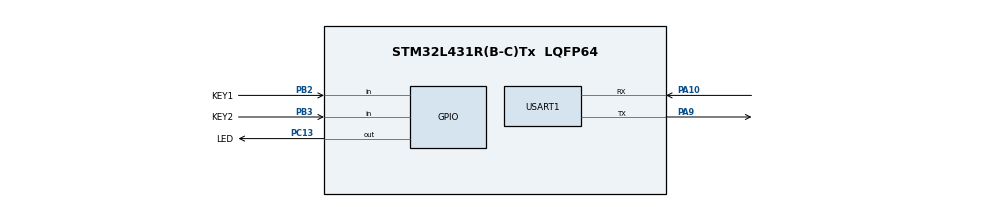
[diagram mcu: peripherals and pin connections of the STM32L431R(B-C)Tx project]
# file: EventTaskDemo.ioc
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FREERTOS.Tasks01=LED_TASK,0,128,LEDTASKEntry,Default,NULL,Dynamic,NULL,NULL;KEY_TASK,-3,128,KEYTASKEntry,Default,NULL,Dynamic,NULL,NULL
Mcu.Family=STM32L4
Mcu.Name=STM32L431R(B-C)Tx
Mcu.Package=LQFP64
NVIC.PriorityGroup=NVIC_PRIORITYGROUP_4
NVIC.TIM1_UP_TIM16_IRQn=true\:0\:0\:false\:false\:true\:false\:false\:true
NVIC.TimeBase=TIM1_UP_TIM16_IRQn
NVIC.TimeBaseIP=TIM1
PA10.Mode=Asynchronous
PA10.Signal=USART1_RX
PA9.Mode=Asynchronous
PA9.Signal=USART1_TX
PB2.GPIO_Label=KEY1
PB2.GPIO_PuPd=GPIO_PULLUP
PB2.Signal=GPIO_Input
PB3\ (JTDO-TRACESWO).GPIO_Label=KEY2
PB3\ (JTDO-TRACESWO).GPIO_PuPd=GPIO_PULLUP
PB3\ (JTDO-TRACESWO).Signal=GPIO_Input
PC13.GPIO_Label=LED
PC13.Signal=GPIO_Output
PC14-OSC32_IN\ (PC14).Mode=LSE-External-Oscillator
PC14-OSC32_IN\ (PC14).Signal=RCC_OSC32_IN
PC15-OSC32_OUT\ (PC15).Mode=LSE-External-Oscillator
PC15-OSC32_OUT\ (PC15).Signal=RCC_OSC32_OUT
PH0-OSC_IN\ (PH0).Mode=HSE-External-Oscillator
PH0-OSC_IN\ (PH0).Signal=RCC_OSC_IN
PH1-OSC_OUT\ (PH1).Mode=HSE-External-Oscillator
PH1-OSC_OUT\ (PH1).Signal=RCC_OSC_OUT
ProjectManager.HeapSize=0x200
ProjectManager.StackSize=0x400
ProjectManager.TargetToolchain=SW4STM32
RCC.HSE_VALUE=8000000
RCC.HSI48_VALUE=48000000
RCC.HSI_VALUE=16000000
RCC.MSI_VALUE=4000000
RCC.VCOOutputFreq_Value=32000000
USART1.VirtualMode-Asynchronous=VM_ASYNC
VP_FREERTOS_VS_CMSIS_V1.Mode=CMSIS_V1
VP_SYS_VS_tim1.Mode=TIM1
board=custom

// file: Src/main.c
/* USER CODE BEGIN Header */
/**
  ******************************************************************************
  * @file           : main.c
  * @brief          : Main program body
  ******************************************************************************
  * @attention
  *
  * <h2><center>&copy; Copyright (c) 2020 STMicroelectronics.
  * All rights reserved.</center></h2>
  *
  * This software component is licensed by ST under Ultimate Liberty license
  * SLA0044, the "License"; You may not use this file except in compliance with
  * the License. You may obtain a copy of the License at:
  *                             www.st.com/SLA0044
  *
  ******************************************************************************
  */
/* USER CODE END Header */

#include "main.h"
#include "cmsis_os.h"
#include "usart.h"
#include "gpio.h"

/* USER CODE BEGIN Includes */
#include <stdio.h>
int _write(int fd, char *ptr, int len)
{
    HAL_UART_Transmit(&huart1,(uint8_t*)ptr, len, 0xFFFF);
    return len;
}

/* USER CODE END Includes */

void SystemClock_Config(void);
void MX_FREERTOS_Init(void);

int main(void)
{

  /* MCU Configuration--------------------------------------------------------*/

  /* Reset of all peripherals, Initializes the Flash interface and the Systick. */
  HAL_Init();

  /* Configure the system clock */
  SystemClock_Config();

  /* Initialize all configured peripherals */
  MX_GPIO_Init();
  MX_USART1_UART_Init();
  /* USER CODE BEGIN 2 */

  printf("Event test\n");

  /* USER CODE END 2 */

  /* Call init function for freertos objects (in freertos.c) */
  MX_FREERTOS_Init();

  /* Start scheduler */
  osKernelStart();

  /* We should never get here as control is now taken by the scheduler */

  /* Infinite loop */
  while (1)
  {

  }
}

void SystemClock_Config(void)
{
  RCC_OscInitTypeDef RCC_OscInitStruct = {0};
  RCC_ClkInitTypeDef RCC_ClkInitStruct = {0};
  RCC_PeriphCLKInitTypeDef PeriphClkInit = {0};

  /** Configure LSE Drive Capability
  */
  HAL_PWR_EnableBkUpAccess();
  __HAL_RCC_LSEDRIVE_CONFIG(RCC_LSEDRIVE_LOW);
  /** Initializes the CPU, AHB and APB busses clocks
  */
  RCC_OscInitStruct.OscillatorType = RCC_OSCILLATORTYPE_LSE|RCC_OSCILLATORTYPE_MSI;
  RCC_OscInitStruct.LSEState = RCC_LSE_ON;
  RCC_OscInitStruct.MSIState = RCC_MSI_ON;
  RCC_OscInitStruct.MSICalibrationValue = 0;
  RCC_OscInitStruct.MSIClockRange = RCC_MSIRANGE_6;
  RCC_OscInitStruct.PLL.PLLState = RCC_PLL_NONE;
  if (HAL_RCC_OscConfig(&RCC_OscInitStruct) != HAL_OK)
  {
    Error_Handler();
  }
  /** Initializes the CPU, AHB and APB busses clocks
  */
  RCC_ClkInitStruct.ClockType = RCC_CLOCKTYPE_HCLK|RCC_CLOCKTYPE_SYSCLK
                              |RCC_CLOCKTYPE_PCLK1|RCC_CLOCKTYPE_PCLK2;
  RCC_ClkInitStruct.SYSCLKSource = RCC_SYSCLKSOURCE_MSI;
  RCC_ClkInitStruct.AHBCLKDivider = RCC_SYSCLK_DIV1;
  RCC_ClkInitStruct.APB1CLKDivider = RCC_HCLK_DIV1;
  RCC_ClkInitStruct.APB2CLKDivider = RCC_HCLK_DIV1;

  if (HAL_RCC_ClockConfig(&RCC_ClkInitStruct, FLASH_LATENCY_0) != HAL_OK)
  {
    Error_Handler();
  }
  PeriphClkInit.PeriphClockSelection = RCC_PERIPHCLK_USART1;
  PeriphClkInit.Usart1ClockSelection = RCC_USART1CLKSOURCE_PCLK2;
  if (HAL_RCCEx_PeriphCLKConfig(&PeriphClkInit) != HAL_OK)
  {
    Error_Handler();
  }
  /** Configure the main internal regulator output voltage
  */
  if (HAL_PWREx_ControlVoltageScaling(PWR_REGULATOR_VOLTAGE_SCALE1) != HAL_OK)
  {
    Error_Handler();
  }
  /** Enable MSI Auto calibration
  */
  HAL_RCCEx_EnableMSIPLLMode();
}

void HAL_TIM_PeriodElapsedCallback(TIM_HandleTypeDef *htim)
{
  if (htim->Instance == TIM1) {
    HAL_IncTick();
  }
}

void Error_Handler(void)
{
}

/************************ (C) COPYRIGHT STMicroelectronics *****END OF FILE****/

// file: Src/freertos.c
/* USER CODE BEGIN Header */
/**
  ******************************************************************************
  * File Name          : freertos.c
  * Description        : Code for freertos applications
  ******************************************************************************
  * @attention
  *
  * <h2><center>&copy; Copyright (c) 2020 STMicroelectronics.
  * All rights reserved.</center></h2>
  *
  * This software component is licensed by ST under Ultimate Liberty license
  * SLA0044, the "License"; You may not use this file except in compliance with
  * the License. You may obtain a copy of the License at:
  *                             www.st.com/SLA0044
  *
  ******************************************************************************
  */
/* USER CODE END Header */

#include "FreeRTOS.h"
#include "task.h"
#include "main.h"
#include "cmsis_os.h"
#include "event_groups.h"
#include "stdio.h"

/* USER CODE BEGIN PD */
static EventGroupHandle_t  Event_Handle = NULL;
#define KEY1_EVENT (0x01 << 0) //设置事件掩码位0
#define KEY2_EVENT (0x01 << 1) //设置事件掩码位1

/* USER CODE END PD */

osThreadId LED_TASKHandle;
osThreadId KEY_TASKHandle;

void LEDTASKEntry(void const * argument);
void KEYTASKEntry(void const * argument);

void MX_FREERTOS_Init(void); /* (MISRA C 2004 rule 8.1) */

/* GetIdleTaskMemory prototype (linked to static allocation support) */
void vApplicationGetIdleTaskMemory( StaticTask_t **ppxIdleTaskTCBBuffer, StackType_t **ppxIdleTaskStackBuffer, uint32_t *pulIdleTaskStackSize );

/* USER CODE BEGIN GET_IDLE_TASK_MEMORY */
static StaticTask_t xIdleTaskTCBBuffer;
static StackType_t xIdleStack[configMINIMAL_STACK_SIZE];

void vApplicationGetIdleTaskMemory( StaticTask_t **ppxIdleTaskTCBBuffer, StackType_t **ppxIdleTaskStackBuffer, uint32_t *pulIdleTaskStackSize )
{
  *ppxIdleTaskTCBBuffer = &xIdleTaskTCBBuffer;
  *ppxIdleTaskStackBuffer = &xIdleStack[0];
  *pulIdleTaskStackSize = configMINIMAL_STACK_SIZE;
  /* place for user code */
}
/* USER CODE END GET_IDLE_TASK_MEMORY */

void MX_FREERTOS_Init(void) {

  /*创建Event_Handle*/
  Event_Handle = xEventGroupCreate();
  if(NULL != Event_Handle){
      printf("Event_Handle事件创建成功\n");
  }

  /* Create the thread(s) */
  /* definition and creation of LED_TASK */
  osThreadDef(LED_TASK, LEDTASKEntry, osPriorityNormal, 0, 128);
  LED_TASKHandle = osThreadCreate(osThread(LED_TASK), NULL);

  /* definition and creation of KEY_TASK */
  osThreadDef(KEY_TASK, KEYTASKEntry, osPriorityIdle, 0, 128);
  KEY_TASKHandle = osThreadCreate(osThread(KEY_TASK), NULL);

}

void LEDTASKEntry(void const * argument)
{
  /* USER CODE BEGIN LEDTASKEntry */
  EventBits_t r_event;
  /* Infinite loop */
  for(;;)
  {
      r_event = xEventGroupWaitBits(Event_Handle, KEY1_EVENT | KEY2_EVENT,
              pdTRUE, /*退出时清楚事件位*/
              pdTRUE, /*满足感兴趣的所有事件*/
              portMAX_DELAY /*一直等*/);

      if((r_event & (KEY1_EVENT | KEY2_EVENT)) == (KEY1_EVENT | KEY2_EVENT)){
          //如果接受完整并且正确
          printf("KEY1与KEY2都摁下\n");
          HAL_GPIO_TogglePin(LED_GPIO_Port, LED_Pin);
      }
      else{
          printf("事件错误\n");
      }
    osDelay(1);
  }
  /* USER CODE END LEDTASKEntry */
}

void KEYTASKEntry(void const * argument)
{
  /* USER CODE BEGIN KEYTASKEntry */
  /* Infinite loop */
  for(;;)
  {
      if(HAL_GPIO_ReadPin(KEY1_GPIO_Port, KEY1_Pin) == GPIO_PIN_RESET){
          printf("KEY1 被摁下\n");
          xEventGroupSetBits(Event_Handle, KEY1_EVENT);
      }
      if(HAL_GPIO_ReadPin(KEY2_GPIO_Port, KEY2_Pin) == GPIO_PIN_RESET){
          printf("KEY2 被摁下\n");
          xEventGroupSetBits(Event_Handle, KEY2_EVENT);
      }
    osDelay(20);
  }
  /* USER CODE END KEYTASKEntry */
}

/************************ (C) COPYRIGHT STMicroelectronics *****END OF FILE****/
